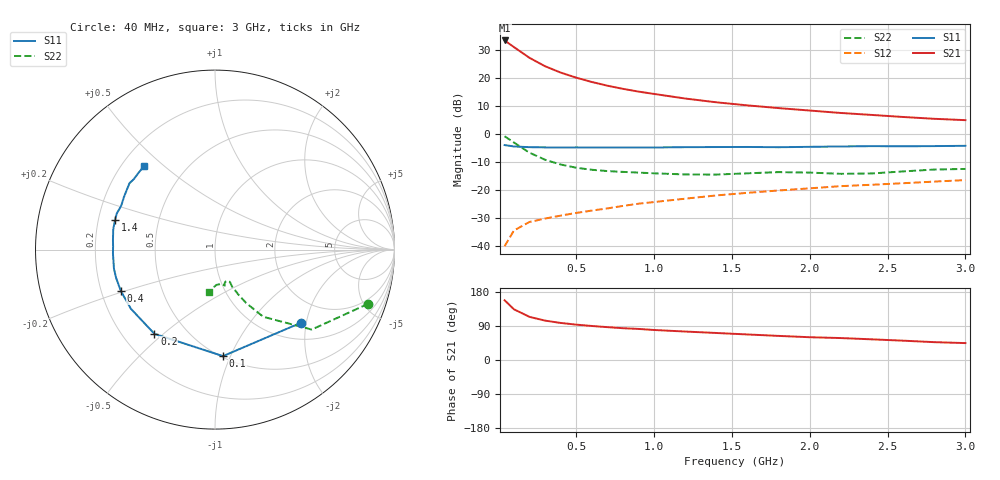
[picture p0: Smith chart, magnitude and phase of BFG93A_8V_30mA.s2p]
! Filename:  BFG93AH.S2P  Version:  2.0
! Philips part #: BFG 93A  Date: Jun 1990
! Bias condition: Vce=8V, Ic=30mA
! IN LINE PINNING: same data as with cross emitter pinning.
#  MHz  S  MA  R  50
! Freq  S11  S21  S12  S22  !GUM [dB]
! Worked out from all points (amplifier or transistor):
!   21 points, 40 MHz to 3 GHz, reference 50 ohm
!   highest |S21| = 33.2 dB at 40 MHz (marker M1)
!   |S21| within 3 dB of that: start of sweep to 116.6 MHz
!   unconditionally stable (mu >= 1): 686.2 MHz to end of sweep
!   at 300 MHz: K = 0.65, MSG = 27.1 dB, |S12| = -30.2 dB
!   at 1 GHz: K = 1.09, MAG = 17.4 dB, |S12| = -24.3 dB
!   at 3 GHz: K = 1.21, MAG = 7.9 dB, |S12| = -16.5 dB
!   lowest NFmin = 2.10 dB at 500 MHz
!   S11 on the Smith chart (normalised r, x): 40 MHz: 1.39, -1.87; 100 MHz: 0.51, -0.94; 200 MHz: 0.33, -0.47; 400 MHz: 0.28, -0.19; 1.4 GHz: 0.27, +0.13; 3 GHz: 0.29, +0.43
40  0.63 -40.2  45.84 157.6  0.01 73.9  0.905 -19.5
100  0.595 -85.7  34.91 133.8  0.019 57.5  0.699 -39.6
200  0.578 -125.7  22.48 113.8  0.027 48.7  0.461 -54.3
300  0.573 -144.9  15.93 103.9  0.031 48.5  0.345 -59.7
400  0.573 -156.3  12.29 97.8  0.035 50.4  0.284 -62.5
500  0.573 -163.8  9.98 93.3  0.039 52.8  0.249 -63.9
600  0.573 -169.2  8.362 89.8  0.043 54.7  0.229 -65.2
700  0.569 -174.3  7.183 86.7  0.047 56.7  0.217 -65.2
800  0.569 -177.9  6.311 83.9  0.052 58.3  0.21 -65.2
900  0.568 178.2  5.637 82.0  0.057 59.5  0.204 -65.1
1000  0.571 174.7  5.122 79.2  0.061 60.3  0.198 -65.2
1200  0.578 168.8  4.244 75.1  0.07 61.9  0.189 -67.4
1400  0.581 163.7  3.636 71.3  0.08 62.6  0.188 -72.1
1600  0.583 159.9  3.204 67.4  0.089 62.7  0.198 -74.6
1800  0.577 154.8  2.867 63.6  0.098 62.8  0.208 -74.7
2000  0.586 149.9  2.593 60.1  0.107 63.1  0.204 -75.9
2200  0.595 145.3  2.348 57.9  0.117 62.6  0.194 -80.4
2400  0.603 142.2  2.165 54.5  0.124 62.6  0.197 -87.7
2600  0.599 138.8  1.992 51.0  0.132 62.9  0.214 -93.3
2800  0.604 134.6  1.849 47.1  0.141 62.8  0.231 -95.9
3000  0.611 130.2  1.749 44.6  0.15 59.9  0.237 -97.6
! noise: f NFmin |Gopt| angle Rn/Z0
500  2.1  0.123  87.3  0.263
1000  2.6  0.216  121.4  0.309
2000  3.6  0.444  -169  0.19
